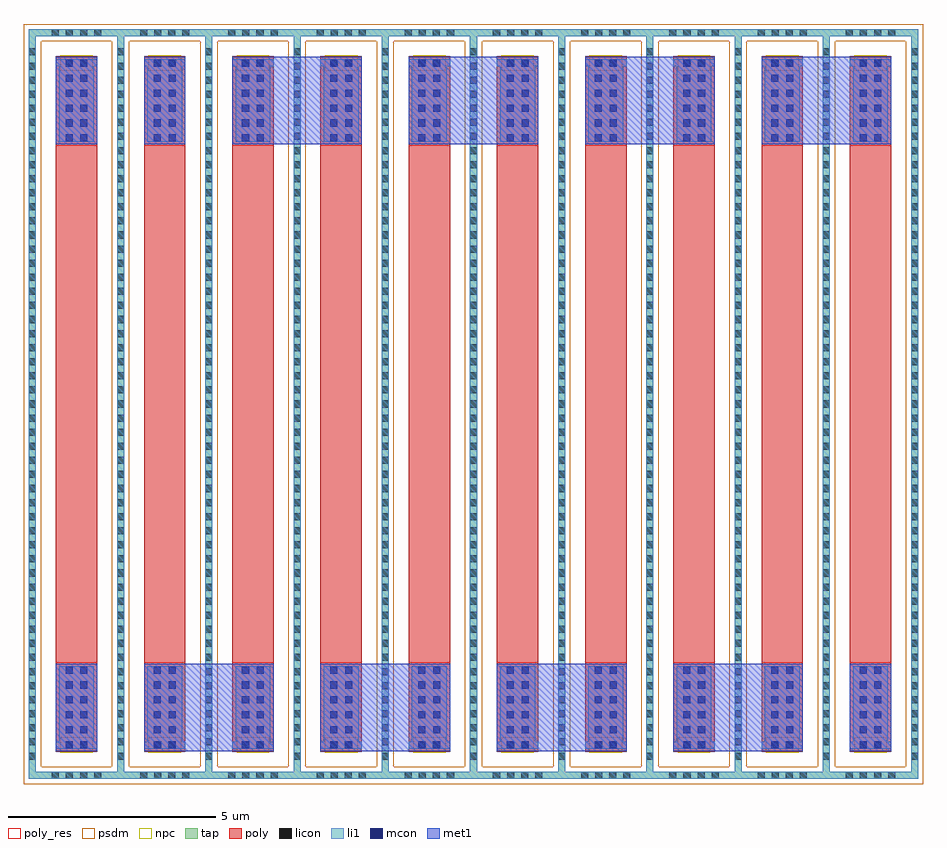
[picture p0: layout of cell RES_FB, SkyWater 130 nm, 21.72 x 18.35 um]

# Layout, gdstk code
import gdstk
lib = gdstk.Library(unit=1e-6, precision=1e-09)
def R(c, l, rs):  # rectangles x0, y0, x1, y1
    for r in rs: c.add(gdstk.rectangle(r[:2], r[2:], *l))
def A(c, l, x, y, w, h, nx, ny, dx, dy):  # array of equal rectangles
    R(c, l, [(x+i*dx, y+j*dy, x+i*dx+w, y+j*dy+h) for i in range(nx) for j in range(ny)])
tap = (65, 44)
poly_res = (66, 13)
poly = (66, 20)
licon = (66, 44)
li1 = (67, 20)
mcon = (67, 44)
met1 = (68, 20)
psdm = (94, 20)
npc = (95, 20)

res_poly = lib.new_cell('res_poly')
R(res_poly, tap, [(-1.15,-9.05,1.15,-8.88), (-1.15,-8.88,-0.98,8.88), (0.98,-8.88,1.15,8.88), (-1.15,8.88,1.15,9.05)])
R(res_poly, poly_res, [(-0.5,-6.25,0.5,6.25)])
R(res_poly, poly, [(-0.5,-8.4,0.5,8.4)])
A(res_poly, licon, -0.595, -9.05, 0.17, 0.17, 4, 2, 0.34, 17.93)
A(res_poly, licon, -1.15, -8.585, 0.17, 0.17, 1, 51, 0, 0.34)
A(res_poly, licon, 0.98, -8.585, 0.17, 0.17, 1, 51, 0, 0.34)
R(res_poly, licon, [(-0.255,-8.32,-0.085,-8.15), (0.085,-8.32,0.255,-8.15), (-0.255,8.15,-0.085,8.32), (0.085,8.15,0.255,8.32)])
R(res_poly, li1, [(-1.15,-9.05,1.15,-8.88), (-1.15,-8.88,-0.98,8.88), (0.98,-8.88,1.15,8.88), (-0.5,-8.32,0.5,-8.15), (-0.42,-8.15,0.42,-6.335), (-0.42,6.335,0.42,8.15), (-0.5,8.15,0.5,8.32), (-1.15,8.88,1.15,9.05)])
A(res_poly, mcon, -0.265, -8.31, 0.17, 0.17, 1, 6, 0, 0.36)
A(res_poly, mcon, 0.095, -8.31, 0.17, 0.17, 1, 6, 0, 0.36)
A(res_poly, mcon, -0.265, 6.34, 0.17, 0.17, 1, 6, 0, 0.36)
A(res_poly, mcon, 0.095, 6.34, 0.17, 0.17, 1, 6, 0, 0.36)
R(res_poly, met1, [(-0.5,-8.38,0.5,-6.275), (-0.5,6.275,0.5,8.38)])
R(res_poly, psdm, [(-1.275,-9.175,1.275,-8.755), (-1.275,-8.755,-0.855,8.755), (0.855,-8.755,1.275,8.755), (-1.275,8.755,1.275,9.175)])
R(res_poly, npc, [(-0.395,-8.42,0.395,-8.05), (-0.395,8.05,0.395,8.42)])

res_fb = lib.new_cell('RES_FB')
res_fb.add(gdstk.FlexPath([(18.27,7.288),(19.4,7.288)], 2.105, ends="flush", simple_path=True, layer=68, datatype=20))  # met1
res_fb.add(gdstk.FlexPath([(16.14,-7.368),(17.27,-7.368)], 2.105, ends="flush", simple_path=True, layer=68, datatype=20))  # met1
res_fb.add(gdstk.FlexPath([(14.01,7.288),(15.14,7.288)], 2.105, ends="flush", simple_path=True, layer=68, datatype=20))  # met1
res_fb.add(gdstk.FlexPath([(11.88,-7.368),(13.01,-7.368)], 2.105, ends="flush", simple_path=True, layer=68, datatype=20))  # met1
res_fb.add(gdstk.FlexPath([(9.75,7.288),(10.88,7.288)], 2.105, ends="flush", simple_path=True, layer=68, datatype=20))  # met1
res_fb.add(gdstk.FlexPath([(7.62,-7.368),(8.75,-7.368)], 2.105, ends="flush", simple_path=True, layer=68, datatype=20))  # met1
res_fb.add(gdstk.FlexPath([(5.49,7.288),(6.62,7.288)], 2.105, ends="flush", simple_path=True, layer=68, datatype=20))  # met1
res_fb.add(gdstk.FlexPath([(3.36,-7.368),(4.49,-7.368)], 2.105, ends="flush", simple_path=True, layer=68, datatype=20))  # met1
res_fb.add(gdstk.Reference(res_poly, (19.9,-0.04)))
res_fb.add(gdstk.Reference(res_poly, (17.77,-0.04)))
res_fb.add(gdstk.Reference(res_poly, (15.64,-0.04)))
res_fb.add(gdstk.Reference(res_poly, (13.51,-0.04)))
res_fb.add(gdstk.Reference(res_poly, (11.38,-0.04)))
res_fb.add(gdstk.Reference(res_poly, (9.25,-0.04)))
res_fb.add(gdstk.Reference(res_poly, (7.12,-0.04)))
res_fb.add(gdstk.Reference(res_poly, (4.99,-0.04)))
res_fb.add(gdstk.Reference(res_poly, (2.86,-0.04)))
res_fb.add(gdstk.Reference(res_poly, (0.73,-0.04)))

lib.write_gds('RES_FB.gds')
